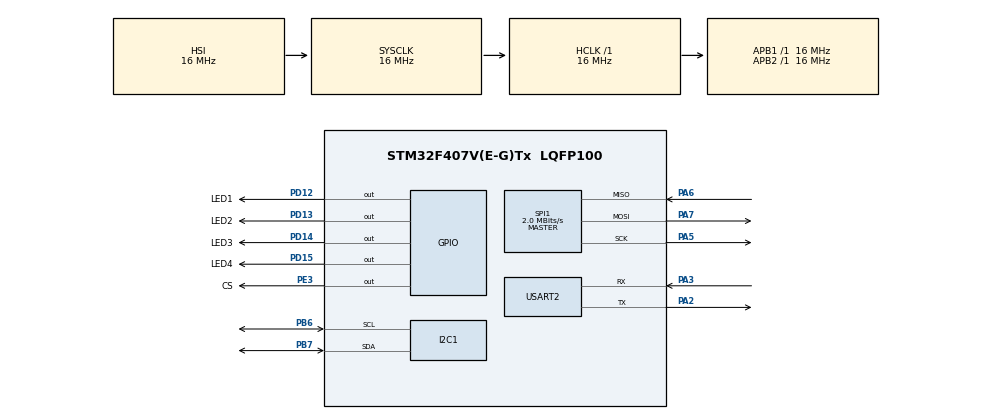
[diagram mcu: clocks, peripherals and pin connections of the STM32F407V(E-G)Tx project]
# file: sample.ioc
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Mcu.Family=STM32F4
Mcu.Name=STM32F407V(E-G)Tx
Mcu.Package=LQFP100
NVIC.PriorityGroup=NVIC_PRIORITYGROUP_4
NVIC.TIM6_DAC_IRQn=true\:15\:0\:false\:false\:true\:false\:true\:true
NVIC.TimeBase=TIM6_DAC_IRQn
NVIC.TimeBaseIP=TIM6
PA13.Mode=Serial_Wire
PA13.Signal=SYS_JTMS-SWDIO
PA14.Mode=Serial_Wire
PA14.Signal=SYS_JTCK-SWCLK
PA2.Mode=Asynchronous
PA2.Signal=USART2_TX
PA3.Mode=Asynchronous
PA3.Signal=USART2_RX
PA5.Mode=Full_Duplex_Master
PA5.Signal=SPI1_SCK
PA6.Mode=Full_Duplex_Master
PA6.Signal=SPI1_MISO
PA7.Mode=Full_Duplex_Master
PA7.Signal=SPI1_MOSI
PB6.Mode=I2C
PB6.Signal=I2C1_SCL
PB7.Mode=I2C
PB7.Signal=I2C1_SDA
PD12.GPIO_Label=LED1
PD12.Signal=GPIO_Output
PD13.GPIO_Label=LED2
PD13.Signal=GPIO_Output
PD14.GPIO_Label=LED3
PD14.Signal=GPIO_Output
PD15.GPIO_Label=LED4
PD15.Signal=GPIO_Output
PE3.GPIO_Label=CS
PE3.GPIO_PuPd=GPIO_PULLUP
PE3.Signal=GPIO_Output
ProjectManager.HeapSize=0x200
ProjectManager.StackSize=0x400
ProjectManager.TargetToolchain=STM32CubeIDE
RCC.AHBFreq_Value=16000000
RCC.APB1Freq_Value=16000000
RCC.APB2Freq_Value=16000000
RCC.CortexFreq_Value=16000000
RCC.HSE_VALUE=25000000
RCC.HSI_VALUE=16000000
RCC.LSE_VALUE=32768
RCC.SYSCLKFreq_VALUE=16000000
RCC.VCOOutputFreq_Value=192000000
SPI1.BaudRatePrescaler=SPI_BAUDRATEPRESCALER_8
SPI1.CalculateBaudRate=2.0 MBits/s
SPI1.Direction=SPI_DIRECTION_2LINES
SPI1.Mode=SPI_MODE_MASTER
SPI1.VirtualType=VM_MASTER
USART2.VirtualMode=VM_ASYNC
VP_SYS_VS_tim6.Mode=TIM6
board=custom

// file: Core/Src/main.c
/* USER CODE BEGIN Header */
/**
  ******************************************************************************
  * @file           : main.c
  * @brief          : Main program body
  ******************************************************************************
  * @attention
  *
  * Copyright (c) 2026 STMicroelectronics.
  * All rights reserved.
  *
  * This software is licensed under terms that can be found in the LICENSE file
  * in the root directory of this software component.
  * If no LICENSE file comes with this software, it is provided AS-IS.
  *
  ******************************************************************************
  */
/* USER CODE END Header */
#include "main.h"
#include "i2c.h"
#include "spi.h"
#include "usart.h"
#include "gpio.h"

/* USER CODE BEGIN Includes */

#include "utils/utils.h"

/* USER CODE END Includes */

void SystemClock_Config(void);

/* USER CODE BEGIN 0 */

#define WHO_AM_I_REG	0x0F

void test_spi()
{
	PRINT_DEBUG("test spi \r\n");

	uint8_t reg[] = { 0x20 | 0x80, 0xFF};
	uint8_t recv[2] = {0};

	// read register
	HAL_GPIO_WritePin(CS_GPIO_Port, CS_Pin, 0);
	HAL_SPI_Transmit(&hspi1, reg, 1, 100);
	HAL_SPI_Receive(&hspi1, recv, 1, 100);
	HAL_GPIO_WritePin(CS_GPIO_Port, CS_Pin, 1);

	PRINT_DEBUG("recv 0x%02X 0x%02X\r\n", recv[0], recv[1]);

	// write new value
	reg[0] = 0x20;
	reg[1] = 0x08;

	HAL_GPIO_WritePin(CS_GPIO_Port, CS_Pin, 0);

	HAL_SPI_Transmit(&hspi1, reg, 2, 100);

	HAL_GPIO_WritePin(CS_GPIO_Port, CS_Pin, 1);

	// read register
	reg[0] = 0x20| 0x80;

	HAL_GPIO_WritePin(CS_GPIO_Port, CS_Pin, 0);
	HAL_SPI_Transmit(&hspi1, reg, 1, 100);
	HAL_SPI_Receive(&hspi1, recv, 1, 100);
	HAL_GPIO_WritePin(CS_GPIO_Port, CS_Pin, 1);

	PRINT_DEBUG("recv 0x%02X 0x%02X\r\n", recv[0], recv[1]);
}

/* USER CODE END 0 */

int main(void)
{

  /* MCU Configuration--------------------------------------------------------*/

  /* Reset of all peripherals, Initializes the Flash interface and the Systick. */
  HAL_Init();

  /* Configure the system clock */
  SystemClock_Config();

  /* Initialize all configured peripherals */
  MX_GPIO_Init();
  MX_USART2_UART_Init();
  MX_I2C1_Init();
  MX_SPI1_Init();
  /* USER CODE BEGIN 2 */

  PRINT_DEBUG("hello nha \r\n");

  test_spi();

  /* USER CODE END 2 */

  /* Infinite loop */
  while (1)
  {

  }
}

void SystemClock_Config(void)
{
  RCC_OscInitTypeDef RCC_OscInitStruct = {0};
  RCC_ClkInitTypeDef RCC_ClkInitStruct = {0};

  /** Configure the main internal regulator output voltage
  */
  __HAL_RCC_PWR_CLK_ENABLE();
  __HAL_PWR_VOLTAGESCALING_CONFIG(PWR_REGULATOR_VOLTAGE_SCALE1);

  /** Initializes the RCC Oscillators according to the specified parameters
  * in the RCC_OscInitTypeDef structure.
  */
  RCC_OscInitStruct.OscillatorType = RCC_OSCILLATORTYPE_HSI;
  RCC_OscInitStruct.HSIState = RCC_HSI_ON;
  RCC_OscInitStruct.HSICalibrationValue = RCC_HSICALIBRATION_DEFAULT;
  RCC_OscInitStruct.PLL.PLLState = RCC_PLL_NONE;
  if (HAL_RCC_OscConfig(&RCC_OscInitStruct) != HAL_OK)
  {
    Error_Handler();
  }

  /** Initializes the CPU, AHB and APB buses clocks
  */
  RCC_ClkInitStruct.ClockType = RCC_CLOCKTYPE_HCLK|RCC_CLOCKTYPE_SYSCLK
                              |RCC_CLOCKTYPE_PCLK1|RCC_CLOCKTYPE_PCLK2;
  RCC_ClkInitStruct.SYSCLKSource = RCC_SYSCLKSOURCE_HSI;
  RCC_ClkInitStruct.AHBCLKDivider = RCC_SYSCLK_DIV1;
  RCC_ClkInitStruct.APB1CLKDivider = RCC_HCLK_DIV1;
  RCC_ClkInitStruct.APB2CLKDivider = RCC_HCLK_DIV1;

  if (HAL_RCC_ClockConfig(&RCC_ClkInitStruct, FLASH_LATENCY_0) != HAL_OK)
  {
    Error_Handler();
  }
}

void HAL_TIM_PeriodElapsedCallback(TIM_HandleTypeDef *htim)
{
  if (htim->Instance == TIM6)
  {
    HAL_IncTick();
  }
}

void Error_Handler(void)
{
  __disable_irq();
  while (1)
  {
  }
}
